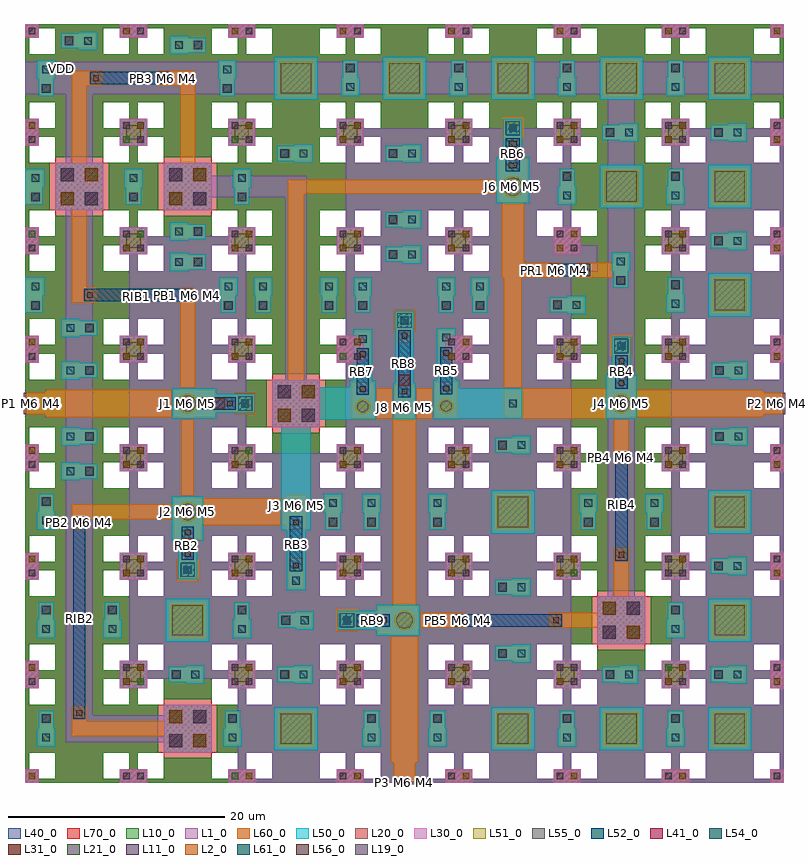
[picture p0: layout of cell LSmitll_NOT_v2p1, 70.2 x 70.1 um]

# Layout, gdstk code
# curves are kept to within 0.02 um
from math import pi, radians
import gdstk
lib = gdstk.Library(unit=1e-6, precision=1e-09)
def R(c, l, rs):  # rectangles x0, y0, x1, y1
    for r in rs: c.add(gdstk.rectangle(r[:2], r[2:], *l))
def P(c, l, *ps):  # polygons
    for p in ps: c.add(gdstk.Polygon(p, *l))
L1_0 = (1, 0)
L2_0 = (2, 0)
L10_0 = (10, 0)
L11_0 = (11, 0)
L19_0 = (19, 0)
L20_0 = (20, 0)
L21_0 = (21, 0)
L30_0 = (30, 0)
L31_0 = (31, 0)
L40_0 = (40, 0)
L41_0 = (41, 0)
L50_0 = (50, 0)
L51_0 = (51, 0)
L52_0 = (52, 0)
L54_0 = (54, 0)
L55_0 = (55, 0)
L56_0 = (56, 0)
L60_0 = (60, 0)
L61_0 = (61, 0)
L70_0 = (70, 0)

ls_tr_m0 = lib.new_cell('ls_tr_M0')
P(ls_tr_m0, L1_0, [(0,0),(0,10),(1.25,10),(1.25,8.75),(0.4,8.75),(0.4,1.25),(1.25,1.25),(1.25,0.4),(2.8,0.4),(2.8,2.8),(0.4,2.8),(0.4,7.2),(2.8,7.2),(2.8,9.6),(1.25,9.6),(1.25,10),(7.2,10),(7.2,0.4),(8.75,0.4),(8.75,1.25),(9.6,1.25),(9.6,2.8),(7.2,2.8),(7.2,7.2),(9.6,7.2),(9.6,8.75),(8.75,8.75),(8.75,9.6),(7.2,9.6),(7.2,10),(10,10),(10,0)])

ls_conn_m5m6m7 = lib.new_cell('ls_conn_M5M6M7')
R(ls_conn_m5m6m7, L50_0, [(-0.5,-0.5,1.2,1.2)])
R(ls_conn_m5m6m7, L54_0, [(0,0,0.7,0.7)])
R(ls_conn_m5m6m7, L60_0, [(-0.65,-0.65,1.35,1.35)])
R(ls_conn_m5m6m7, L61_0, [(-0.3,-0.3,1,1)])
R(ls_conn_m5m6m7, L70_0, [(-0.65,-0.65,1.35,1.35)])

ls_jj_080_sg = lib.new_cell('ls_jj_080_sg')
R(ls_jj_080_sg, L41_0, [(-0.5,2.025,0.5,3.025)])
R(ls_jj_080_sg, L50_0, [(-1.05,-1.05,1.05,2.25), (-0.875,2.25,0.875,8.925)])
P(ls_jj_080_sg, L51_0, [(0,-0.53),(-0.205,-0.49),(-0.375,-0.375),(-0.49,-0.205),(-0.53,0),(-0.49,0.2),(-0.375,0.375),(-0.205,0.49),(0,0.53),(0.205,0.49),(0.375,0.375),(0.49,0.2),(0.53,0),(0.49,-0.205),(0.375,-0.375),(0.205,-0.49)])
R(ls_jj_080_sg, L52_0, [(-0.575,0.975,0.575,7.175)])
R(ls_jj_080_sg, L54_0, [(-0.35,7.7,0.35,8.4)])
P(ls_jj_080_sg, L55_0, [(0,-0.38),(-0.15,-0.35),(-0.27,-0.27),(-0.35,-0.15),(-0.38,0),(-0.35,0.15),(-0.27,0.27),(-0.21,0.33),(0,0.38),(0.21,0.33),(0.32,0.21),(0.38,0),(0.35,-0.15),(0.27,-0.27),(0.15,-0.35)])
R(ls_jj_080_sg, L56_0, [(-0.26,1.25,0.26,1.77), (-0.26,6.38,0.26,6.9)])
R(ls_jj_080_sg, L60_0, [(-0.9,-0.9,0.9,2.15), (-0.725,6,0.725,8.775)])
ls_jj_080_sg.add(gdstk.Reference(ls_conn_m5m6m7, (-0.35,7.7)))

ls_jj_138_s = lib.new_cell('ls_jj_138_s')
R(ls_jj_138_s, L50_0, [(-1.2,-1.2,1.2,2.375), (-0.875,2.375,0.875,7.125)])
P(ls_jj_138_s, L51_0, [(0,-0.685),(-0.26,-0.635),(-0.485,-0.485),(-0.63,-0.265),(-0.685,0),(-0.63,0.26),(-0.485,0.485),(-0.26,0.63),(0,0.685),(0.26,0.63),(0.485,0.485),(0.63,0.26),(0.685,0),(0.63,-0.265),(0.485,-0.485),(0.26,-0.635)])
R(ls_jj_138_s, L52_0, [(-0.575,1.1,0.575,5.375)])
R(ls_jj_138_s, L54_0, [(-0.35,5.9,0.35,6.6)])
P(ls_jj_138_s, L55_0, [(0,-0.53),(-0.2,-0.49),(-0.38,-0.37),(-0.49,-0.2),(-0.53,0),(-0.49,0.21),(-0.38,0.38),(-0.2,0.5),(0,0.54),(0.2,0.5),(0.38,0.38),(0.49,0.21),(0.53,0),(0.49,-0.2),(0.38,-0.37),(0.2,-0.49)])
R(ls_jj_138_s, L56_0, [(-0.26,1.38,0.26,1.9), (-0.26,4.58,0.26,5.1)])
R(ls_jj_138_s, L60_0, [(-1.05,-1.05,1.05,2.275), (-0.725,4.2,0.725,6.975)])

ls_jj_250_sg = lib.new_cell('ls_jj_250_sg')
R(ls_jj_250_sg, L41_0, [(-0.5,2.4,0.5,3.4)])
R(ls_jj_250_sg, L50_0, [(-1.425,-1.425,1.425,2.625), (-0.875,2.625,0.875,6.175)])
P(ls_jj_250_sg, L51_0, [(0,-0.91),(-0.18,-0.895),(-0.35,-0.84),(-0.645,-0.645),(-0.84,-0.35),(-0.91,0),(-0.895,0.18),(-0.84,0.35),(-0.645,0.645),(-0.35,0.84),(-0.18,0.895),(0,0.91),(0.18,0.895),(0.35,0.84),(0.645,0.645),(0.84,0.35),(0.895,0.18),(0.91,0),(0.84,-0.35),(0.645,-0.645),(0.35,-0.84),(0.18,-0.895)])
R(ls_jj_250_sg, L52_0, [(-0.575,1.35,0.575,4.425)])
R(ls_jj_250_sg, L54_0, [(-0.35,4.95,0.35,5.65)])
P(ls_jj_250_sg, L55_0, [(0,-0.76),(-0.15,-0.75),(-0.29,-0.7),(-0.54,-0.54),(-0.7,-0.29),(-0.75,-0.15),(-0.76,0),(-0.75,0.15),(-0.7,0.29),(-0.54,0.54),(-0.29,0.7),(-0.15,0.75),(0,0.76),(0.15,0.75),(0.29,0.7),(0.54,0.54),(0.7,0.29),(0.75,0.15),(0.76,0),(0.75,-0.15),(0.7,-0.29),(0.54,-0.54),(0.29,-0.7),(0.15,-0.75)])
R(ls_jj_250_sg, L56_0, [(-0.26,1.64,0.26,2.16), (-0.26,3.63,0.26,4.15)])
R(ls_jj_250_sg, L60_0, [(-1.275,-1.275,1.275,2.525), (-0.725,3.25,0.725,6.025)])
ls_jj_250_sg.add(gdstk.Reference(ls_conn_m5m6m7, (-0.35,4.95)))

ls_tr_m7 = lib.new_cell('ls_tr_M7')
P(ls_tr_m7, L70_0, [(0,0),(0,10),(1.25,10),(1.25,8.75),(0.4,8.75),(0.4,1.25),(1.25,1.25),(1.25,0.4),(2.8,0.4),(2.8,2.8),(0.4,2.8),(0.4,7.2),(2.8,7.2),(2.8,9.6),(1.25,9.6),(1.25,10),(7.2,10),(7.2,0.4),(8.75,0.4),(8.75,1.25),(9.6,1.25),(9.6,2.8),(7.2,2.8),(7.2,7.2),(9.6,7.2),(9.6,8.75),(8.75,8.75),(8.75,9.6),(7.2,9.6),(7.2,10),(10,10),(10,0)])

ls_tr_u_m4_alt = lib.new_cell('ls_tr_u_M4_alt')
R(ls_tr_u_m4_alt, L1_0, [(0,0,1.25,1.25), (8.75,0,10,1.25), (0,8.75,1.25,10), (8.75,8.75,10,10)])
R(ls_tr_u_m4_alt, L2_0, [(9.05,0.35,9.65,0.95), (0.35,9.05,0.95,9.65)])
R(ls_tr_u_m4_alt, L10_0, [(0,0,1.25,1.25), (1.25,0,8.75,0.4), (8.75,0,10,1.25), (2.8,0.4,7.2,9.6), (0,1.25,0.4,8.75), (9.6,1.25,10,8.75), (0.4,2.8,2.8,7.2), (7.2,2.8,9.6,7.2), (0,8.75,1.25,10), (8.75,8.75,10,10), (1.25,9.6,8.75,10)])
R(ls_tr_u_m4_alt, L11_0, [(0.35,0.35,0.95,0.95), (9.05,9.05,9.65,9.65)])
R(ls_tr_u_m4_alt, L20_0, [(0,0,1.25,1.25), (8.75,0,10,1.25), (0,8.75,1.25,10), (8.75,8.75,10,10)])
R(ls_tr_u_m4_alt, L21_0, [(9.05,0.35,9.65,0.95), (0.35,9.05,0.95,9.65)])
R(ls_tr_u_m4_alt, L30_0, [(0,0,1.25,1.25), (8.75,0,10,1.25), (0,8.75,1.25,10), (8.75,8.75,10,10)])
R(ls_tr_u_m4_alt, L31_0, [(0.35,0.35,0.95,0.95), (9.05,9.05,9.65,9.65)])
P(ls_tr_u_m4_alt, L40_0, [(0,0),(0,10),(1.25,10),(1.25,8.75),(0.4,8.75),(0.4,1.25),(1.25,1.25),(1.25,0.4),(2.8,0.4),(2.8,2.8),(0.4,2.8),(0.4,7.2),(2.8,7.2),(2.8,9.6),(1.25,9.6),(1.25,10),(7.2,10),(7.2,0.4),(8.75,0.4),(8.75,1.25),(9.6,1.25),(9.6,2.8),(7.2,2.8),(7.2,7.2),(9.6,7.2),(9.6,8.75),(8.75,8.75),(8.75,9.6),(7.2,9.6),(7.2,10),(10,10),(10,0)])
ls_tr_u_m4_alt.add(gdstk.Reference(ls_tr_m7, (0,0)))

ls_jj_134_s = lib.new_cell('ls_jj_134_s')
R(ls_jj_134_s, L50_0, [(-1.2,-1.2,1.2,2.375), (-0.875,2.375,0.875,7.2)])
P(ls_jj_134_s, L51_0, [(0,-0.675),(-0.26,-0.625),(-0.475,-0.475),(-0.625,-0.26),(-0.675,0),(-0.625,0.26),(-0.475,0.475),(-0.26,0.625),(0,0.675),(0.26,0.625),(0.475,0.475),(0.625,0.26),(0.675,0),(0.625,-0.26),(0.475,-0.475),(0.26,-0.625)])
R(ls_jj_134_s, L52_0, [(-0.575,1.1,0.575,5.45)])
R(ls_jj_134_s, L54_0, [(-0.35,5.975,0.35,6.675)])
P(ls_jj_134_s, L55_0, [(0,-0.52),(-0.2,-0.48),(-0.37,-0.37),(-0.53,-0.1),(-0.53,0.11),(-0.44,0.3),(-0.2,0.49),(0,0.53),(0.2,0.49),(0.37,0.38),(0.53,0.11),(0.53,-0.1),(0.44,-0.29),(0.2,-0.48)])
R(ls_jj_134_s, L56_0, [(-0.26,1.37,0.26,1.89), (-0.26,4.65,0.26,5.17)])
R(ls_jj_134_s, L60_0, [(-1.05,-1.05,1.05,2.275), (-0.725,4.275,0.725,7.05)])

ls_tr_bias_pillar_m0m6 = lib.new_cell('ls_tr_bias_pillar_M0M6')
R(ls_tr_bias_pillar_m0m6, L1_0, [(0,0,1.25,1.25), (8.75,0,10,1.25), (2.8,2.8,7.2,7.2), (0,8.75,1.25,10), (8.75,8.75,10,10)])
R(ls_tr_bias_pillar_m0m6, L2_0, [(5.5,3.3,6.7,4.5), (3.3,5.5,4.5,6.7)])
R(ls_tr_bias_pillar_m0m6, L10_0, [(0,0,1.25,1.25), (8.75,0,10,1.25), (2.8,2.8,7.2,7.2), (0,8.75,1.25,10), (8.75,8.75,10,10)])
P(ls_tr_bias_pillar_m0m6, L10_0, [(0,0),(0,10),(7.2,10),(7.2,7.7),(2.8,7.7),(2.8,9.6),(1.25,9.6),(1.25,8.75),(0.4,8.75),(0.4,7.2),(2.3,7.2),(2.3,2.8),(0.4,2.8),(0.4,1.25),(1.25,1.25),(1.25,0.4),(2.8,0.4),(2.8,2.3),(7.2,2.3),(7.2,0.4),(8.75,0.4),(8.75,1.25),(9.6,1.25),(9.6,2.8),(7.7,2.8),(7.7,7.2),(9.6,7.2),(9.6,8.75),(8.75,8.75),(8.75,9.6),(7.2,9.6),(7.2,10),(10,10),(10,0)])
R(ls_tr_bias_pillar_m0m6, L11_0, [(0.35,0.35,0.95,0.95), (3.3,3.3,4.5,4.5), (5.5,5.5,6.7,6.7), (9.05,9.05,9.65,9.65)])
R(ls_tr_bias_pillar_m0m6, L20_0, [(0,0,1.25,1.25), (8.75,0,10,1.25), (2.8,2.8,7.2,7.2), (0,8.75,1.25,10), (8.75,8.75,10,10)])
R(ls_tr_bias_pillar_m0m6, L21_0, [(9.05,0.35,9.65,0.95), (5.5,3.3,6.7,4.5), (3.3,5.5,4.5,6.7), (0.35,9.05,0.95,9.65)])
R(ls_tr_bias_pillar_m0m6, L30_0, [(0,0,1.25,1.25), (8.75,0,10,1.25), (2.8,2.8,7.2,7.2), (0,8.75,1.25,10), (8.75,8.75,10,10)])
R(ls_tr_bias_pillar_m0m6, L31_0, [(0.35,0.35,0.95,0.95), (3.3,3.3,4.5,4.5), (5.5,5.5,6.7,6.7), (9.05,9.05,9.65,9.65)])
R(ls_tr_bias_pillar_m0m6, L40_0, [(2.8,2.8,7.2,7.2)])
P(ls_tr_bias_pillar_m0m6, L40_0, [(0,0),(0,10),(7.2,10),(7.2,7.7),(2.8,7.7),(2.8,9.6),(1.25,9.6),(1.25,8.75),(0.4,8.75),(0.4,7.2),(2.3,7.2),(2.3,2.8),(0.4,2.8),(0.4,1.25),(1.25,1.25),(1.25,0.4),(2.8,0.4),(2.8,2.3),(7.2,2.3),(7.2,0.4),(8.75,0.4),(8.75,1.25),(9.6,1.25),(9.6,2.8),(7.7,2.8),(7.7,7.2),(9.6,7.2),(9.6,8.75),(8.75,8.75),(8.75,9.6),(7.2,9.6),(7.2,10),(10,10),(10,0)])
R(ls_tr_bias_pillar_m0m6, L41_0, [(5.5,3.3,6.7,4.5), (3.3,5.5,4.5,6.7)])
R(ls_tr_bias_pillar_m0m6, L50_0, [(2.8,2.8,7.2,7.2)])
R(ls_tr_bias_pillar_m0m6, L54_0, [(3.3,3.3,4.5,4.5), (5.5,5.5,6.7,6.7)])
R(ls_tr_bias_pillar_m0m6, L60_0, [(2.8,2.8,7.2,7.2)])
P(ls_tr_bias_pillar_m0m6, L70_0, [(0,0),(0,10),(1.25,10),(1.25,8.75),(0.4,8.75),(0.4,1.25),(1.25,1.25),(1.25,0.4),(2.8,0.4),(2.8,2.8),(0.4,2.8),(0.4,7.2),(2.8,7.2),(2.8,9.6),(1.25,9.6),(1.25,10),(7.2,10),(7.2,0.4),(8.75,0.4),(8.75,1.25),(9.6,1.25),(9.6,2.8),(7.2,2.8),(7.2,7.2),(9.6,7.2),(9.6,8.75),(8.75,8.75),(8.75,9.6),(7.2,9.6),(7.2,10),(10,10),(10,0)])

ls_conn_m5m6 = lib.new_cell('ls_conn_M5M6')
R(ls_conn_m5m6, L50_0, [(0,0,1.7,1.7)])
R(ls_conn_m5m6, L54_0, [(0.5,0.5,1.2,1.2)])
R(ls_conn_m5m6, L60_0, [(0.15,0.15,1.55,1.55)])

ls_conn_m4m5m6m7 = lib.new_cell('ls_conn_M4M5M6M7')
R(ls_conn_m4m5m6m7, L40_0, [(0,0,1.4,1.4)])
R(ls_conn_m4m5m6m7, L41_0, [(0.3,0.3,1.1,1.1)])
P(ls_conn_m4m5m6m7, L50_0, [(1.6,-0.15),(1.6,0),(0,0),(0,1.4),(1.6,1.4),(1.6,1.55),(3.3,1.55),(3.3,-0.15)])
R(ls_conn_m4m5m6m7, L54_0, [(2.1,0.35,2.8,1.05)])
R(ls_conn_m4m5m6m7, L60_0, [(0,0,3.15,1.4)])
R(ls_conn_m4m5m6m7, L61_0, [(0.35,0.35,1.05,1.05)])
R(ls_conn_m4m5m6m7, L70_0, [(0,0,1.4,1.4)])

ls_fakejj_3umx3um = lib.new_cell('ls_FakeJJ_3umx3um')
R(ls_fakejj_3umx3um, L40_0, [(-2,-2,2,2)])
R(ls_fakejj_3umx3um, L50_0, [(-2,-2,2,2)])
R(ls_fakejj_3umx3um, L51_0, [(-1.5,-1.5,1.5,1.5)])
R(ls_fakejj_3umx3um, L55_0, [(-1.4,-1.4,1.4,1.4)])
R(ls_fakejj_3umx3um, L60_0, [(-1.75,-1.75,1.75,1.75)])

ls_fakejj_1p5x1p5um = lib.new_cell('ls_FakeJJ_1p5x1p5um')
R(ls_fakejj_1p5x1p5um, L40_0, [(-1.25,-1.25,1.25,1.25)])
R(ls_fakejj_1p5x1p5um, L50_0, [(-1.25,-1.25,1.25,1.25)])
R(ls_fakejj_1p5x1p5um, L51_0, [(-0.75,-0.75,0.75,0.75)])
R(ls_fakejj_1p5x1p5um, L55_0, [(-0.65,-0.65,0.65,0.65)])
R(ls_fakejj_1p5x1p5um, L60_0, [(-1,-1,1,1)])

ls_jj_303_sg = lib.new_cell('ls_jj_303_sg')
R(ls_jj_303_sg, L41_0, [(-0.5,2.5,0.5,3.5)])
R(ls_jj_303_sg, L50_0, [(-1.525,-1.525,1.525,2.7), (-0.875,2.7,0.875,6.225)])
P(ls_jj_303_sg, L51_0, [(0,-1),(-0.385,-0.925),(-0.705,-0.705),(-0.925,-0.385),(-1,0),(-0.925,0.385),(-0.705,0.705),(-0.385,0.925),(0,1),(0.385,0.925),(0.705,0.705),(0.925,0.385),(1,0),(0.925,-0.385),(0.705,-0.705),(0.385,-0.925)])
R(ls_jj_303_sg, L52_0, [(-0.65,1.425,0.65,4.475)])
P(ls_jj_303_sg, L55_0, [(0,-0.85),(-0.33,-0.79),(-0.6,-0.6),(-0.79,-0.33),(-0.85,0),(-0.79,0.33),(-0.6,0.6),(-0.33,0.79),(0,0.85),(0.33,0.79),(0.6,0.6),(0.79,0.33),(0.85,0),(0.79,-0.33),(0.6,-0.6),(0.33,-0.79)])
R(ls_jj_303_sg, L56_0, [(-0.39,1.7,0.39,2.22), (-0.39,3.69,0.39,4.21)])
R(ls_jj_303_sg, L60_0, [(-1.375,-1.375,1.375,2.6), (-0.75,3.325,0.75,6.075)])
ls_jj_303_sg.add(gdstk.Reference(ls_conn_m5m6m7, (-0.35,5.05)))

ls_res_4 = lib.new_cell('ls_res_4')
R(ls_res_4, L52_0, [(-0.575,0,0.575,3.825)])
R(ls_res_4, L56_0, [(-0.26,0.29,0.26,0.81), (-0.26,3.02,0.26,3.54)])
R(ls_res_4, L60_0, [(-0.625,-0.1,0.625,1.175), (-0.625,2.65,0.625,3.925)])

ls_ib_257 = lib.new_cell('ls_ib_257')
R(ls_ib_257, L52_0, [(-0.575,0,0.575,7.325)])
R(ls_ib_257, L56_0, [(-0.26,0.29,0.26,0.81), (-0.26,6.54,0.26,7.06)])
R(ls_ib_257, L60_0, [(-0.625,-0.1,0.625,1.175), (-0.625,6.175,0.625,7.425)])

ls_ib_175 = lib.new_cell('ls_ib_175')
R(ls_ib_175, L52_0, [(-0.575,0,0.575,10.05)])
R(ls_ib_175, L56_0, [(-0.26,0.29,0.26,0.81), (-0.26,9.26,0.26,9.78)])
R(ls_ib_175, L60_0, [(-0.625,-0.1,0.625,1.175), (-0.625,8.875,0.625,10.15)])

ls_jj_107_s = lib.new_cell('ls_jj_107_s')
R(ls_jj_107_s, L50_0, [(-1.125,-1.125,1.125,2.3), (-0.875,2.3,0.875,7.825)])
P(ls_jj_107_s, L51_0, [(0,-0.605),(-0.23,-0.56),(-0.43,-0.425),(-0.56,-0.23),(-0.605,0),(-0.56,0.235),(-0.43,0.43),(-0.23,0.56),(0,0.61),(0.23,0.56),(0.43,0.43),(0.56,0.235),(0.605,0),(0.56,-0.23),(0.43,-0.425),(0.23,-0.56)])
R(ls_jj_107_s, L52_0, [(-0.575,1.025,0.575,6.075)])
R(ls_jj_107_s, L54_0, [(-0.35,6.6,0.35,7.3)])
P(ls_jj_107_s, L55_0, [(0,-0.46),(-0.19,-0.43),(-0.32,-0.33),(-0.42,-0.18),(-0.46,0),(-0.42,0.17),(-0.32,0.32),(-0.19,0.42),(0,0.45),(0.19,0.42),(0.32,0.32),(0.42,0.17),(0.46,0),(0.42,-0.18),(0.32,-0.33),(0.19,-0.43)])
R(ls_jj_107_s, L56_0, [(-0.26,1.31,0.26,1.83), (-0.26,5.27,0.26,5.79)])
R(ls_jj_107_s, L60_0, [(-0.975,-0.975,0.975,2.2), (-0.725,4.9,0.725,7.675)])

ls_jj_257_sg = lib.new_cell('ls_jj_257_sg')
R(ls_jj_257_sg, L41_0, [(-0.5,2.425,0.5,3.425)])
R(ls_jj_257_sg, L50_0, [(-1.45,-1.45,1.45,2.65), (-0.875,2.65,0.875,6.175)])
P(ls_jj_257_sg, L51_0, [(0,-0.925),(-0.355,-0.855),(-0.655,-0.655),(-0.855,-0.355),(-0.925,0),(-0.855,0.35),(-0.655,0.65),(-0.355,0.85),(-0.18,0.905),(0,0.92),(0.18,0.905),(0.355,0.85),(0.655,0.65),(0.855,0.35),(0.925,0),(0.855,-0.355),(0.655,-0.655),(0.355,-0.855)])
R(ls_jj_257_sg, L52_0, [(-0.55,1.375,0.55,4.425)])
P(ls_jj_257_sg, L55_0, [(-0.15,-0.77),(-0.43,-0.64),(-0.64,-0.43),(-0.76,-0.15),(-0.76,0.15),(-0.64,0.43),(-0.43,0.65),(-0.15,0.76),(0.15,0.76),(0.43,0.65),(0.64,0.43),(0.76,0.15),(0.76,-0.15),(0.64,-0.43),(0.43,-0.64),(0.15,-0.77)])
R(ls_jj_257_sg, L56_0, [(-0.29,1.65,0.29,2.17), (-0.29,3.64,0.29,4.16)])
R(ls_jj_257_sg, L60_0, [(-1.3,-1.3,1.3,2.55), (-0.725,3.25,0.725,6.025)])
ls_jj_257_sg.add(gdstk.Reference(ls_conn_m5m6m7, (-0.35,5)))

ls_ib_087 = lib.new_cell('ls_ib_087')
R(ls_ib_087, L52_0, [(-0.575,0,0.575,18.65)])
R(ls_ib_087, L56_0, [(-0.26,0.29,0.26,0.81), (-0.26,17.85,0.26,18.37)])
R(ls_ib_087, L60_0, [(-0.625,-0.1,0.625,1.175), (-0.625,17.475,0.625,18.75)])

lsmitll_not_v2p1 = lib.new_cell('LSmitll_NOT_v2p1')
R(lsmitll_not_v2p1, L1_0, [(19.6,1.25,20,8.75), (11.25,9.6,18.75,10), (51.25,10,58.75,10.4), (9.6,11.25,10,48.75), (50,11.25,50.4,58.75), (59.6,11.25,60,58.75), (21.25,30,28.75,30.4), (20,31.25,20.4,48.75), (29.6,31.25,30,58.75), (30.4,37.2,32.8,42.8), (37.2,37.2,39.6,42.8), (47.2,47.2,52.8,49.6), (11.25,50,18.75,50.4), (31.25,60,48.75,60.4), (61.25,60,68.75,60.4)])
R(lsmitll_not_v2p1, L10_0, [(30.4,37.2,32.8,42.8), (37.2,37.2,39.6,42.8), (47.2,47.2,52.8,49.6)])
R(lsmitll_not_v2p1, L19_0, [(39.74,14.74,40.26,15.26), (4.74,23.75,5.26,24.27), (54.74,29.76,55.26,30.28), (14.71,44.74,15.23,45.26), (48.61,47.04,49.13,47.56), (12.54,64.74,13.06,65.26)])
R(lsmitll_not_v2p1, L40_0, [(30.4,37.2,32.8,42.8), (37.2,37.2,39.6,42.8), (47.2,47.2,52.8,49.6)])
R(lsmitll_not_v2p1, L50_0, [(0,43.35,0.25,46.65), (0,53.35,0.25,56.65)])
R(lsmitll_not_v2p1, L60_0, [(0,43.35,0.25,46.5), (0,53.35,0.25,56.5)])
P(lsmitll_not_v2p1, L60_0, [(34,1.75),(33.75,2),(36.25,2),(36,1.75)],
  [(2,33.75),(1.75,34),(1.75,36),(2,36.25)],
  [(68,33.75),(68,36.25),(68.25,36),(68.25,34)])
R(lsmitll_not_v2p1, L70_0, [(30.4,37.2,32.8,42.8), (37.2,37.2,39.6,42.8), (47.2,47.2,52.8,49.6)])
lsmitll_not_v2p1.add(gdstk.FlexPath([(25,55),(25,35)], 1.5, ends="flush", simple_path=True, layer=60, datatype=0))  # L60_0
lsmitll_not_v2p1.add(gdstk.FlexPath([(43.65,55),(24.25,55)], 1.3, ends="flush", simple_path=True, layer=60, datatype=0))  # L60_0
lsmitll_not_v2p1.add(gdstk.FlexPath([(35,16.275),(35,34.1)], 2.15, ends="flush", simple_path=True, layer=60, datatype=0))  # L60_0
lsmitll_not_v2p1.add(gdstk.FlexPath([(48.325,15),(55,15)], 1.4, ends="flush", simple_path=True, layer=60, datatype=0))  # L60_0
lsmitll_not_v2p1.add(gdstk.FlexPath([(36.25,15),(40.625,15)], 1.4, ends="flush", simple_path=True, layer=60, datatype=0))  # L60_0
lsmitll_not_v2p1.add(gdstk.FlexPath([(35,2),(35,13.75)], 2.5, ends="flush", simple_path=True, layer=60, datatype=0))  # L60_0
lsmitll_not_v2p1.add(gdstk.FlexPath([(35,0),(35,2)], 2, ends="flush", simple_path=True, layer=60, datatype=0))  # L60_0
lsmitll_not_v2p1.add(gdstk.FlexPath([(2,35),(0,35)], 2, ends="flush", simple_path=True, layer=60, datatype=0))  # L60_0
lsmitll_not_v2p1.add(gdstk.FlexPath([(13.7,25),(5,25),(5,23.375)], 1.4, ends="flush", simple_path=True, layer=60, datatype=0))  # L60_0
lsmitll_not_v2p1.add(gdstk.FlexPath([(15,36.275),(15,45.625)], 1.4, ends="flush", simple_path=True, layer=60, datatype=0))  # L60_0
lsmitll_not_v2p1.add(gdstk.FlexPath([(5,55),(5,45),(6.625,45)], 1.4, ends="flush", simple_path=True, layer=60, datatype=0))  # L60_0
lsmitll_not_v2p1.add(gdstk.FlexPath([(15,55),(15,65),(12.175,65)], 1.4, ends="flush", simple_path=True, layer=60, datatype=0))  # L60_0
lsmitll_not_v2p1.add(gdstk.FlexPath([(5,55),(5,65),(7.175,65)], 1.4, ends="flush", simple_path=True, layer=60, datatype=0))  # L60_0
lsmitll_not_v2p1.add(gdstk.FlexPath([(15,33.75),(15,26.25)], 1.15, ends="flush", simple_path=True, layer=60, datatype=0))  # L60_0
lsmitll_not_v2p1.add(gdstk.FlexPath([(16.3,25),(24.05,25)], 2.5, ends="flush", simple_path=True, layer=60, datatype=0))  # L60_0
lsmitll_not_v2p1.add(gdstk.FlexPath([(15,5),(5,5),(5,7.075)], 1.4, ends="flush", simple_path=True, layer=60, datatype=0))  # L60_0
lsmitll_not_v2p1.add(gdstk.FlexPath([(13.75,35),(2,35)], 2.5, ends="flush", simple_path=True, layer=60, datatype=0))  # L60_0
lsmitll_not_v2p1.add(gdstk.FlexPath([(30.1,35),(34.15,35)], 2.8, ends="flush", simple_path=True, layer=60, datatype=0))  # L60_0
lsmitll_not_v2p1.add(gdstk.FlexPath([(35.9,35),(39.9,35)], 2.8, ends="flush", simple_path=True, layer=60, datatype=0))  # L60_0
lsmitll_not_v2p1.add(gdstk.FlexPath([(54.35,35),(44.3,35)], 2.8, ends="flush", simple_path=True, layer=60, datatype=0))  # L60_0
lsmitll_not_v2p1.add(gdstk.FlexPath([(70,35),(68,35)], 2, ends="flush", simple_path=True, layer=60, datatype=0))  # L60_0
lsmitll_not_v2p1.add(gdstk.FlexPath([(68,35),(56.25,35)], 2.5, ends="flush", simple_path=True, layer=60, datatype=0))  # L60_0
lsmitll_not_v2p1.add(gdstk.FlexPath([(55,33.75),(55,29.375)], 1.4, ends="flush", simple_path=True, layer=60, datatype=0))  # L60_0
lsmitll_not_v2p1.add(gdstk.FlexPath([(55,15),(55,21.675)], 1.4, ends="flush", simple_path=True, layer=60, datatype=0))  # L60_0
lsmitll_not_v2p1.add(gdstk.FlexPath([(45,53.65),(45,46.6)], 2.05, ends="flush", simple_path=True, layer=60, datatype=0))  # L60_0
lsmitll_not_v2p1.add(gdstk.FlexPath([(45,34),(45,47.9)], 1.65, ends="flush", simple_path=True, layer=60, datatype=0))  # L60_0
lsmitll_not_v2p1.add(gdstk.FlexPath([(45,47.3),(49.5,47.3)], 1.4, ends="flush", simple_path=True, layer=60, datatype=0))  # L60_0
lsmitll_not_v2p1.add(gdstk.FlexPath([(50.975,47.3),(55,47.3)], 1.4, ends="flush", simple_path=True, layer=60, datatype=0))  # L60_0
lsmitll_not_v2p1.add(gdstk.FlexPath([(25,23.3),(25,35)], 2.7, ends="flush", simple_path=True, layer=50, datatype=0))  # L50_0
lsmitll_not_v2p1.add(gdstk.FlexPath([(25,35),(30,35)], 3, ends="flush", simple_path=True, layer=50, datatype=0))  # L50_0
lsmitll_not_v2p1.add(gdstk.FlexPath([(40.05,35),(45.85,35)], 2.8, ends="flush", simple_path=True, layer=50, datatype=0))  # L50_0
lsmitll_not_v2p1.add(gdstk.FlexPath([(0,65),(70,65)], 3, ends="flush", simple_path=True, layer=1, datatype=0))  # L1_0
lsmitll_not_v2p1.add(gdstk.FlexPath([(5,65),(5,5),(15,5)], 2.5, ends="flush", simple_path=True, layer=1, datatype=0))  # L1_0
lsmitll_not_v2p1.add(gdstk.FlexPath([(55,65),(55,15)], 2.5, ends="flush", simple_path=True, layer=1, datatype=0))  # L1_0
lsmitll_not_v2p1.add(gdstk.FlexPath([(15,55),(25,55),(25,35)], 2, ends="flush", simple_path=True, layer=1, datatype=0))  # L1_0
lsmitll_not_v2p1.add(gdstk.FlexPath([(70,34),(70,36)], 0.2, ends="flush", simple_path=True, layer=19, datatype=0))  # L19_0
lsmitll_not_v2p1.add(gdstk.FlexPath([(34,0),(36,0)], 0.2, ends="flush", simple_path=True, layer=19, datatype=0))  # L19_0
lsmitll_not_v2p1.add(gdstk.FlexPath([(0,34),(0,36)], 0.2, ends="flush", simple_path=True, layer=19, datatype=0))  # L19_0
lsmitll_not_v2p1.add(gdstk.Reference(ls_tr_m0, (30,10)))
lsmitll_not_v2p1.add(gdstk.Reference(ls_tr_m0, (30,20)))
lsmitll_not_v2p1.add(gdstk.Reference(ls_tr_m0, (30,30)))
lsmitll_not_v2p1.add(gdstk.Reference(ls_tr_m0, (40,30)))
lsmitll_not_v2p1.add(gdstk.Reference(ls_tr_m0, (30,40)))
lsmitll_not_v2p1.add(gdstk.Reference(ls_tr_m0, (30,50)))
lsmitll_not_v2p1.add(gdstk.Reference(ls_tr_m0, (60,30)))
lsmitll_not_v2p1.add(gdstk.Reference(ls_tr_m0, (30,0)))
lsmitll_not_v2p1.add(gdstk.Reference(ls_tr_m0, (10,30)))
lsmitll_not_v2p1.add(gdstk.Reference(ls_jj_080_sg, (35,34.6)))
lsmitll_not_v2p1.add(gdstk.Reference(ls_jj_138_s, (31.15,34.7)))
lsmitll_not_v2p1.add(gdstk.Reference(ls_jj_250_sg, (55,35), rotation=pi, x_reflection=True))
lsmitll_not_v2p1.add(gdstk.Reference(ls_jj_250_sg, (15,35), rotation=pi/2, x_reflection=True))
lsmitll_not_v2p1.add(gdstk.Reference(ls_tr_u_m4_alt, (30,10), rotation=3*pi/2))
lsmitll_not_v2p1.add(gdstk.Reference(ls_tr_u_m4_alt, (30,20), rotation=3*pi/2))
lsmitll_not_v2p1.add(gdstk.Reference(ls_tr_u_m4_alt, (30,30), rotation=3*pi/2))
lsmitll_not_v2p1.add(gdstk.Reference(ls_tr_u_m4_alt, (60,40), rotation=3*pi/2))
lsmitll_not_v2p1.add(gdstk.Reference(ls_tr_u_m4_alt, (50,40), rotation=3*pi/2))
lsmitll_not_v2p1.add(gdstk.Reference(ls_tr_u_m4_alt, (30,40), rotation=3*pi/2))
lsmitll_not_v2p1.add(gdstk.Reference(ls_tr_u_m4_alt, (10,40), rotation=3*pi/2))
lsmitll_not_v2p1.add(gdstk.Reference(ls_tr_u_m4_alt, (0,40), rotation=3*pi/2))
lsmitll_not_v2p1.add(gdstk.Reference(ls_tr_u_m4_alt, (30,60), rotation=3*pi/2))
lsmitll_not_v2p1.add(gdstk.Reference(ls_tr_u_m4_alt, (30,70), rotation=3*pi/2))
lsmitll_not_v2p1.add(gdstk.Reference(ls_jj_134_s, (38.85,34.75)))
lsmitll_not_v2p1.add(gdstk.Reference(ls_tr_bias_pillar_m0m6, (20,40), rotation=3*pi/2))
lsmitll_not_v2p1.add(gdstk.Reference(ls_jj_250_sg, (35,15), rotation=3*pi/2, x_reflection=True))
lsmitll_not_v2p1.add(gdstk.Reference(ls_tr_u_m4_alt, (30,50), rotation=3*pi/2))
lsmitll_not_v2p1.add(gdstk.Reference(ls_tr_u_m4_alt, (40,40), rotation=3*pi/2))
lsmitll_not_v2p1.add(gdstk.Reference(ls_conn_m5m6, (44.15,34.15)))
lsmitll_not_v2p1.add(gdstk.Reference(ls_conn_m4m5m6m7, (33.25,51.25)))
lsmitll_not_v2p1.add(gdstk.Reference(ls_conn_m4m5m6m7, (33.25,57.35)))
lsmitll_not_v2p1.add(gdstk.Reference(ls_conn_m4m5m6m7, (33.25,48.05)))
lsmitll_not_v2p1.add(gdstk.Reference(ls_fakejj_3umx3um, (35,65)))
lsmitll_not_v2p1.add(gdstk.Reference(ls_fakejj_1p5x1p5um, (50,60)))
lsmitll_not_v2p1.add(gdstk.Reference(ls_fakejj_1p5x1p5um, (40,60)))
lsmitll_not_v2p1.add(gdstk.Reference(ls_tr_u_m4_alt, (40,50), rotation=3*pi/2))
lsmitll_not_v2p1.add(gdstk.Reference(ls_tr_u_m4_alt, (50,50), rotation=3*pi/2))
lsmitll_not_v2p1.add(gdstk.Reference(ls_tr_u_m4_alt, (60,50), rotation=3*pi/2))
lsmitll_not_v2p1.add(gdstk.Reference(ls_tr_u_m4_alt, (60,60), rotation=3*pi/2))
lsmitll_not_v2p1.add(gdstk.Reference(ls_tr_u_m4_alt, (50,60), rotation=3*pi/2))
lsmitll_not_v2p1.add(gdstk.Reference(ls_tr_u_m4_alt, (40,60), rotation=3*pi/2))
lsmitll_not_v2p1.add(gdstk.Reference(ls_tr_m0, (60,40)))
lsmitll_not_v2p1.add(gdstk.Reference(ls_tr_m0, (40,40)))
lsmitll_not_v2p1.add(gdstk.Reference(ls_tr_u_m4_alt, (40,70), rotation=3*pi/2))
lsmitll_not_v2p1.add(gdstk.Reference(ls_tr_u_m4_alt, (50,70), rotation=3*pi/2))
lsmitll_not_v2p1.add(gdstk.Reference(ls_tr_u_m4_alt, (60,70), rotation=3*pi/2))
lsmitll_not_v2p1.add(gdstk.Reference(ls_jj_303_sg, (45,55)))
lsmitll_not_v2p1.add(gdstk.Reference(ls_res_4, (52.15,47.3), rotation=pi/2))
lsmitll_not_v2p1.add(gdstk.Reference(ls_tr_m0, (40,50)))
lsmitll_not_v2p1.add(gdstk.Reference(ls_tr_m0, (60,50)))
lsmitll_not_v2p1.add(gdstk.Reference(ls_fakejj_3umx3um, (65,45)))
lsmitll_not_v2p1.add(gdstk.Reference(ls_fakejj_1p5x1p5um, (60,40)))
lsmitll_not_v2p1.add(gdstk.Reference(ls_conn_m4m5m6m7, (55.65,45.65), rotation=pi/2))
lsmitll_not_v2p1.add(gdstk.Reference(ls_conn_m4m5m6m7, (63.35,37.35)))
lsmitll_not_v2p1.add(gdstk.Reference(ls_conn_m4m5m6m7, (42.65,43.35), rotation=pi/2))
lsmitll_not_v2p1.add(gdstk.Reference(ls_fakejj_1p5x1p5um, (50,40)))
lsmitll_not_v2p1.add(gdstk.Reference(ls_fakejj_1p5x1p5um, (40,50)))
lsmitll_not_v2p1.add(gdstk.Reference(ls_conn_m4m5m6m7, (39.55,43.35), rotation=pi/2))
lsmitll_not_v2p1.add(gdstk.Reference(ls_fakejj_1p5x1p5um, (60,50)))
lsmitll_not_v2p1.add(gdstk.Reference(ls_conn_m4m5m6m7, (48.4,43.4)))
lsmitll_not_v2p1.add(gdstk.Reference(ls_fakejj_1p5x1p5um, (60,60)))
lsmitll_not_v2p1.add(gdstk.Reference(ls_fakejj_3umx3um, (45,65)))
lsmitll_not_v2p1.add(gdstk.Reference(ls_fakejj_3umx3um, (55,65)))
lsmitll_not_v2p1.add(gdstk.Reference(ls_fakejj_3umx3um, (65,65)))
lsmitll_not_v2p1.add(gdstk.Reference(ls_fakejj_3umx3um, (65,55)))
lsmitll_not_v2p1.add(gdstk.Reference(ls_fakejj_3umx3um, (55,55)))
lsmitll_not_v2p1.add(gdstk.Reference(ls_conn_m4m5m6m7, (59.3,46.65), rotation=3*pi/2))
lsmitll_not_v2p1.add(gdstk.Reference(ls_conn_m4m5m6m7, (59.3,56.65), rotation=3*pi/2))
lsmitll_not_v2p1.add(gdstk.Reference(ls_conn_m4m5m6m7, (49.3,56.65), rotation=3*pi/2))
lsmitll_not_v2p1.add(gdstk.Reference(ls_conn_m4m5m6m7, (49.3,66.65), rotation=3*pi/2))
lsmitll_not_v2p1.add(gdstk.Reference(ls_conn_m4m5m6m7, (59.3,66.65), rotation=3*pi/2))
lsmitll_not_v2p1.add(gdstk.Reference(ls_conn_m4m5m6m7, (39.3,66.65), rotation=3*pi/2))
lsmitll_not_v2p1.add(gdstk.Reference(ls_conn_m4m5m6m7, (53.25,59.3)))
lsmitll_not_v2p1.add(gdstk.Reference(ls_conn_m4m5m6m7, (63.25,59.3)))
lsmitll_not_v2p1.add(gdstk.Reference(ls_conn_m4m5m6m7, (63.25,49.3)))
lsmitll_not_v2p1.add(gdstk.Reference(ls_tr_m0, (10,40)))
lsmitll_not_v2p1.add(gdstk.Reference(ls_fakejj_3umx3um, (25,65)))
lsmitll_not_v2p1.add(gdstk.Reference(ls_conn_m4m5m6m7, (28.75,43.35), rotation=pi/2))
lsmitll_not_v2p1.add(gdstk.Reference(ls_conn_m4m5m6m7, (22.65,43.35), rotation=pi/2))
lsmitll_not_v2p1.add(gdstk.Reference(ls_fakejj_1p5x1p5um, (20,40)))
lsmitll_not_v2p1.add(gdstk.Reference(ls_fakejj_1p5x1p5um, (10,40)))
lsmitll_not_v2p1.add(gdstk.Reference(ls_conn_m4m5m6m7, (23.25,57.35)))
lsmitll_not_v2p1.add(gdstk.Reference(ls_conn_m4m5m6m7, (20.7,53.35), rotation=pi/2))
lsmitll_not_v2p1.add(gdstk.Reference(ls_conn_m4m5m6m7, (6.65,41.25), rotation=pi, x_reflection=True))
lsmitll_not_v2p1.add(gdstk.Reference(ls_conn_m4m5m6m7, (16.65,47.35), rotation=pi, x_reflection=True))
lsmitll_not_v2p1.add(gdstk.Reference(ls_conn_m4m5m6m7, (19.45,43.35), rotation=pi/2))
lsmitll_not_v2p1.add(gdstk.Reference(ls_conn_m4m5m6m7, (31.85,43.35), rotation=pi/2))
lsmitll_not_v2p1.add(gdstk.Reference(ls_fakejj_1p5x1p5um, (10,50)))
lsmitll_not_v2p1.add(gdstk.Reference(ls_conn_m4m5m6m7, (1.65,43.35), rotation=pi/2))
lsmitll_not_v2p1.add(gdstk.Reference(ls_conn_m4m5m6m7, (1.65,53.35), rotation=pi/2))
lsmitll_not_v2p1.add(gdstk.Reference(ls_conn_m4m5m6m7, (10.7,53.35), rotation=pi/2))
lsmitll_not_v2p1.add(gdstk.Reference(ls_conn_m4m5m6m7, (2.65,63.35), rotation=pi/2))
lsmitll_not_v2p1.add(gdstk.Reference(ls_conn_m4m5m6m7, (3.35,67.75)))
lsmitll_not_v2p1.add(gdstk.Reference(ls_conn_m4m5m6m7, (16.65,67.35), rotation=pi, x_reflection=True))
lsmitll_not_v2p1.add(gdstk.Reference(ls_conn_m4m5m6m7, (19.35,63.35), rotation=pi/2))
lsmitll_not_v2p1.add(gdstk.Reference(ls_conn_m4m5m6m7, (16.65,50.15), rotation=pi, x_reflection=True))
lsmitll_not_v2p1.add(gdstk.Reference(ls_tr_u_m4_alt, (20,60), rotation=3*pi/2))
lsmitll_not_v2p1.add(gdstk.Reference(ls_tr_u_m4_alt, (0,70), rotation=3*pi/2))
lsmitll_not_v2p1.add(gdstk.Reference(ls_tr_u_m4_alt, (10,70), rotation=3*pi/2))
lsmitll_not_v2p1.add(gdstk.Reference(ls_tr_u_m4_alt, (20,70), rotation=3*pi/2))
lsmitll_not_v2p1.add(gdstk.Reference(ls_fakejj_1p5x1p5um, (30,60)))
lsmitll_not_v2p1.add(gdstk.Reference(ls_fakejj_1p5x1p5um, (20,60)))
lsmitll_not_v2p1.add(gdstk.Reference(ls_fakejj_1p5x1p5um, (10,60)))
lsmitll_not_v2p1.add(gdstk.Reference(ls_conn_m4m5m6m7, (6.65,37.35), rotation=pi, x_reflection=True))
lsmitll_not_v2p1.add(gdstk.Reference(ls_tr_bias_pillar_m0m6, (0,60), rotation=3*pi/2))
lsmitll_not_v2p1.add(gdstk.Reference(ls_fakejj_1p5x1p5um, (20,50)))
lsmitll_not_v2p1.add(gdstk.Reference(ls_fakejj_1p5x1p5um, (30,50)))
lsmitll_not_v2p1.add(gdstk.Reference(ls_tr_bias_pillar_m0m6, (10,60), rotation=3*pi/2))
lsmitll_not_v2p1.add(gdstk.Reference(ls_tr_u_m4_alt, (20,50), rotation=3*pi/2))
lsmitll_not_v2p1.add(gdstk.Reference(ls_tr_u_m4_alt, (0,50), rotation=3*pi/2))
lsmitll_not_v2p1.add(gdstk.Reference(ls_conn_m4m5m6m7, (29.3,66.65), rotation=3*pi/2))
lsmitll_not_v2p1.add(gdstk.Reference(ls_tr_u_m4_alt, (10,50), rotation=3*pi/2))
lsmitll_not_v2p1.add(gdstk.Reference(ls_ib_257, (13.35,65), rotation=pi/2))
lsmitll_not_v2p1.add(gdstk.Reference(ls_ib_175, (5.45,45), rotation=3*pi/2))
lsmitll_not_v2p1.add(gdstk.Reference(ls_tr_m0, (10,10)))
lsmitll_not_v2p1.add(gdstk.Reference(ls_jj_107_s, (25,25.6), rotation=pi))
lsmitll_not_v2p1.add(gdstk.Reference(ls_jj_257_sg, (15,25), x_reflection=True))
lsmitll_not_v2p1.add(gdstk.Reference(ls_fakejj_1p5x1p5um, (10,10)))
lsmitll_not_v2p1.add(gdstk.Reference(ls_fakejj_1p5x1p5um, (20,10)))
lsmitll_not_v2p1.add(gdstk.Reference(ls_tr_u_m4_alt, (0,10), rotation=3*pi/2))
lsmitll_not_v2p1.add(gdstk.Reference(ls_conn_m4m5m6m7, (23.35,14.3)))
lsmitll_not_v2p1.add(gdstk.Reference(ls_conn_m4m5m6m7, (18.45,6.65), rotation=3*pi/2))
lsmitll_not_v2p1.add(gdstk.Reference(ls_conn_m4m5m6m7, (1.25,6.65), rotation=3*pi/2))
lsmitll_not_v2p1.add(gdstk.Reference(ls_conn_m4m5m6m7, (1.25,16.65), rotation=3*pi/2))
lsmitll_not_v2p1.add(gdstk.Reference(ls_conn_m4m5m6m7, (7.35,16.65), rotation=3*pi/2))
lsmitll_not_v2p1.add(gdstk.Reference(ls_conn_m4m5m6m7, (1.25,26.65), rotation=3*pi/2))
lsmitll_not_v2p1.add(gdstk.Reference(ls_conn_m4m5m6m7, (6.65,28.05), rotation=pi, x_reflection=True))
lsmitll_not_v2p1.add(gdstk.Reference(ls_tr_u_m4_alt, (20,10), rotation=3*pi/2))
lsmitll_not_v2p1.add(gdstk.Reference(ls_fakejj_1p5x1p5um, (30,10)))
lsmitll_not_v2p1.add(gdstk.Reference(ls_fakejj_1p5x1p5um, (30,20)))
lsmitll_not_v2p1.add(gdstk.Reference(ls_tr_u_m4_alt, (20,20), rotation=3*pi/2))
lsmitll_not_v2p1.add(gdstk.Reference(ls_tr_u_m4_alt, (10,20), rotation=3*pi/2))
lsmitll_not_v2p1.add(gdstk.Reference(ls_tr_u_m4_alt, (0,20), rotation=3*pi/2))
lsmitll_not_v2p1.add(gdstk.Reference(ls_tr_u_m4_alt, (0,30), rotation=3*pi/2))
lsmitll_not_v2p1.add(gdstk.Reference(ls_tr_u_m4_alt, (10,30), rotation=3*pi/2))
lsmitll_not_v2p1.add(gdstk.Reference(ls_tr_u_m4_alt, (20,30), rotation=3*pi/2))
lsmitll_not_v2p1.add(gdstk.Reference(ls_fakejj_1p5x1p5um, (20,20)))
lsmitll_not_v2p1.add(gdstk.Reference(ls_fakejj_1p5x1p5um, (10,20)))
lsmitll_not_v2p1.add(gdstk.Reference(ls_fakejj_1p5x1p5um, (10,30)))
lsmitll_not_v2p1.add(gdstk.Reference(ls_tr_bias_pillar_m0m6, (10,0)))
lsmitll_not_v2p1.add(gdstk.Reference(ls_fakejj_1p5x1p5um, (20,30)))
lsmitll_not_v2p1.add(gdstk.Reference(ls_fakejj_1p5x1p5um, (30,30)))
lsmitll_not_v2p1.add(gdstk.Reference(ls_conn_m4m5m6m7, (6.65,31.25), rotation=pi, x_reflection=True))
lsmitll_not_v2p1.add(gdstk.Reference(ls_tr_m0, (10,20)))
lsmitll_not_v2p1.add(gdstk.Reference(ls_tr_m0, (20,20)))
lsmitll_not_v2p1.add(gdstk.Reference(ls_tr_m0, (20,0)))
lsmitll_not_v2p1.add(gdstk.Reference(ls_fakejj_3umx3um, (15,15)))
lsmitll_not_v2p1.add(gdstk.Reference(ls_conn_m4m5m6m7, (29.1,23.35), rotation=pi/2))
lsmitll_not_v2p1.add(gdstk.Reference(ls_conn_m4m5m6m7, (32.65,23.35), rotation=pi/2))
lsmitll_not_v2p1.add(gdstk.Reference(ls_conn_m4m5m6m7, (31.25,6.65), rotation=3*pi/2))
lsmitll_not_v2p1.add(gdstk.Reference(ls_ib_087, (5,5.9)))
lsmitll_not_v2p1.add(gdstk.Reference(ls_fakejj_3umx3um, (25,5)))
lsmitll_not_v2p1.add(gdstk.Reference(ls_tr_m0, (20,10)))
lsmitll_not_v2p1.add(gdstk.Reference(ls_conn_m4m5m6m7, (23.25,9.3)))
lsmitll_not_v2p1.add(gdstk.Reference(ls_conn_m4m5m6m7, (13.25,9.3)))
lsmitll_not_v2p1.add(gdstk.Reference(ls_conn_m4m5m6m7, (19.3,16.65), rotation=3*pi/2))
lsmitll_not_v2p1.add(gdstk.Reference(ls_tr_u_m4_alt, (40,10), rotation=3*pi/2))
lsmitll_not_v2p1.add(gdstk.Reference(ls_tr_u_m4_alt, (50,10), rotation=3*pi/2))
lsmitll_not_v2p1.add(gdstk.Reference(ls_tr_u_m4_alt, (60,10), rotation=3*pi/2))
lsmitll_not_v2p1.add(gdstk.Reference(ls_tr_u_m4_alt, (60,20), rotation=3*pi/2))
lsmitll_not_v2p1.add(gdstk.Reference(ls_tr_u_m4_alt, (40,20), rotation=3*pi/2))
lsmitll_not_v2p1.add(gdstk.Reference(ls_fakejj_1p5x1p5um, (60,10)))
lsmitll_not_v2p1.add(gdstk.Reference(ls_fakejj_1p5x1p5um, (60,20)))
lsmitll_not_v2p1.add(gdstk.Reference(ls_fakejj_1p5x1p5um, (50,20)))
lsmitll_not_v2p1.add(gdstk.Reference(ls_fakejj_1p5x1p5um, (40,20)))
lsmitll_not_v2p1.add(gdstk.Reference(ls_fakejj_3umx3um, (45,25)))
lsmitll_not_v2p1.add(gdstk.Reference(ls_ib_175, (39.45,15), rotation=3*pi/2))
lsmitll_not_v2p1.add(gdstk.Reference(ls_tr_m0, (40,10)))
lsmitll_not_v2p1.add(gdstk.Reference(ls_ib_175, (55,20.5)))
lsmitll_not_v2p1.add(gdstk.Reference(ls_tr_m0, (40,20)))
lsmitll_not_v2p1.add(gdstk.Reference(ls_fakejj_3umx3um, (45,5)))
lsmitll_not_v2p1.add(gdstk.Reference(ls_tr_u_m4_alt, (40,30), rotation=3*pi/2))
lsmitll_not_v2p1.add(gdstk.Reference(ls_tr_u_m4_alt, (50,30), rotation=3*pi/2))
lsmitll_not_v2p1.add(gdstk.Reference(ls_tr_bias_pillar_m0m6, (50,10)))
lsmitll_not_v2p1.add(gdstk.Reference(ls_tr_u_m4_alt, (60,30), rotation=3*pi/2))
lsmitll_not_v2p1.add(gdstk.Reference(ls_fakejj_3umx3um, (55,5)))
lsmitll_not_v2p1.add(gdstk.Reference(ls_fakejj_3umx3um, (65,5)))
lsmitll_not_v2p1.add(gdstk.Reference(ls_fakejj_1p5x1p5um, (40,30)))
lsmitll_not_v2p1.add(gdstk.Reference(ls_conn_m4m5m6m7, (63.35,31.25)))
lsmitll_not_v2p1.add(gdstk.Reference(ls_fakejj_1p5x1p5um, (50,30)))
lsmitll_not_v2p1.add(gdstk.Reference(ls_conn_m4m5m6m7, (43.35,30.45)))
lsmitll_not_v2p1.add(gdstk.Reference(ls_fakejj_1p5x1p5um, (60,30)))
lsmitll_not_v2p1.add(gdstk.Reference(ls_fakejj_3umx3um, (65,15)))
lsmitll_not_v2p1.add(gdstk.Reference(ls_fakejj_3umx3um, (65,25)))
lsmitll_not_v2p1.add(gdstk.Reference(ls_conn_m4m5m6m7, (49.3,6.65), rotation=3*pi/2))
lsmitll_not_v2p1.add(gdstk.Reference(ls_conn_m4m5m6m7, (59.3,6.65), rotation=3*pi/2))
lsmitll_not_v2p1.add(gdstk.Reference(ls_conn_m4m5m6m7, (59.3,16.65), rotation=3*pi/2))
lsmitll_not_v2p1.add(gdstk.Reference(ls_tr_m0, (60,20)))
lsmitll_not_v2p1.add(gdstk.Reference(ls_tr_m0, (60,10)))
lsmitll_not_v2p1.add(gdstk.Reference(ls_conn_m4m5m6m7, (38.75,23.35), rotation=pi/2))
lsmitll_not_v2p1.add(gdstk.Reference(ls_conn_m4m5m6m7, (37.35,6.65), rotation=3*pi/2))
lsmitll_not_v2p1.add(gdstk.Reference(ls_tr_m0, (60,0)))
lsmitll_not_v2p1.add(gdstk.Reference(ls_conn_m4m5m6m7, (43.35,17.35)))
lsmitll_not_v2p1.add(gdstk.Reference(ls_conn_m4m5m6m7, (43.35,11.25)))
lsmitll_not_v2p1.add(gdstk.Reference(ls_conn_m4m5m6m7, (58.75,23.35), rotation=pi/2))
lsmitll_not_v2p1.add(gdstk.Reference(ls_conn_m4m5m6m7, (52.65,23.35), rotation=pi/2))
lsmitll_not_v2p1.add(gdstk.Reference(ls_tr_m0, (50,0)))
lsmitll_not_v2p1.add(gdstk.Reference(ls_conn_m4m5m6m7, (63.25,19.3)))
lsmitll_not_v2p1.add(gdstk.Reference(ls_conn_m4m5m6m7, (63.25,9.3)))
lsmitll_not_v2p1.add(gdstk.Reference(ls_conn_m4m5m6m7, (53.25,9.3)))
lsmitll_not_v2p1.add(gdstk.Reference(ls_tr_m0, (40,0)))
lsmitll_not_v2p1.add(gdstk.Reference(ls_fakejj_1p5x1p5um, (40,10)))
lsmitll_not_v2p1.add(gdstk.Reference(ls_fakejj_1p5x1p5um, (50,10)))
lsmitll_not_v2p1.add(gdstk.Label('P3 M6 M4', (35,0), layer=182, texttype=0))
lsmitll_not_v2p1.add(gdstk.Label('q', (35,0), layer=182, texttype=0))
lsmitll_not_v2p1.add(gdstk.Label('PB5 M6 M4', (40,15), layer=182, texttype=0))
lsmitll_not_v2p1.add(gdstk.Label('J9 M6 M5', (35,15), layer=182, texttype=0))
lsmitll_not_v2p1.add(gdstk.Label('J8 M6 M5', (35,34.6), layer=182, texttype=0))
lsmitll_not_v2p1.add(gdstk.Label('J7 M5 M6 ', (31.15,34.75), layer=182, texttype=0))
lsmitll_not_v2p1.add(gdstk.Label('J5 M5 M6', (38.85,34.75), layer=182, texttype=0))
lsmitll_not_v2p1.add(gdstk.Label('PB4 M6 M4', (55,30), layer=182, texttype=0))
lsmitll_not_v2p1.add(gdstk.Label('J4 M6 M5', (55,35), layer=182, texttype=0))
lsmitll_not_v2p1.add(gdstk.Label('P2 M6 M4', (70,35), layer=182, texttype=0))
lsmitll_not_v2p1.add(gdstk.Label('clk', (70,35), layer=182, texttype=0))
lsmitll_not_v2p1.add(gdstk.Label('PR1 M6 M4', (48.85,47.3), layer=182, texttype=0))
lsmitll_not_v2p1.add(gdstk.Label('J6 M6 M5', (45,55), layer=182, texttype=0))
lsmitll_not_v2p1.add(gdstk.Label('PB3 M6 M4', (12.8,65), layer=182, texttype=0))
lsmitll_not_v2p1.add(gdstk.Label('J3 M6 M5', (25,25.6), layer=182, texttype=0))
lsmitll_not_v2p1.add(gdstk.Label('PB2 M6 M4', (5,24), layer=182, texttype=0))
lsmitll_not_v2p1.add(gdstk.Label('J2 M6 M5', (15,25), layer=182, texttype=0))
lsmitll_not_v2p1.add(gdstk.Label('PB1 M6 M4', (15,45), layer=182, texttype=0))
lsmitll_not_v2p1.add(gdstk.Label('J1 M6 M5', (15,35), layer=182, texttype=0))
lsmitll_not_v2p1.add(gdstk.Label('P1 M6 M4', (0,35), layer=182, texttype=0))
lsmitll_not_v2p1.add(gdstk.Label('a', (0,35), layer=182, texttype=0))
lsmitll_not_v2p1.add(gdstk.Label('a', (0.056,34.072), layer=60, texttype=1))
lsmitll_not_v2p1.add(gdstk.Label('q', (34.068,0.056), layer=60, texttype=1))
lsmitll_not_v2p1.add(gdstk.Label('clk', (69.946,34.046), layer=60, texttype=1))
lsmitll_not_v2p1.add(gdstk.Label('VDD', (3.356,65.89), layer=1, texttype=1))
lsmitll_not_v2p1.add(gdstk.Label('GND', (3.624,66.922), layer=40, texttype=1))
lsmitll_not_v2p1.add(gdstk.Label('RD', (50.279,47.279), layer=52, texttype=1))
lsmitll_not_v2p1.add(gdstk.Label('RIB1', (10.287,44.868), layer=52, texttype=1))
lsmitll_not_v2p1.add(gdstk.Label('RIB2', (5.002,15.133), layer=52, texttype=1))
lsmitll_not_v2p1.add(gdstk.Label('RIB3', (9.48,64.964), layer=52, texttype=1))
lsmitll_not_v2p1.add(gdstk.Label('RIB4', (55.033,25.668), layer=52, texttype=1))
lsmitll_not_v2p1.add(gdstk.Label('RIB5', (44.166,14.96), layer=52, texttype=1))
lsmitll_not_v2p1.add(gdstk.Label('RB1', (17.902,34.963), layer=52, texttype=1))
lsmitll_not_v2p1.add(gdstk.Label('RB2', (14.892,21.904), layer=52, texttype=1))
lsmitll_not_v2p1.add(gdstk.Label('RB3', (25.03,21.957), layer=52, texttype=1))
lsmitll_not_v2p1.add(gdstk.Label('RB4', (55.016,37.955), layer=52, texttype=1))
lsmitll_not_v2p1.add(gdstk.Label('RB5', (38.88,38.056), layer=52, texttype=1))
lsmitll_not_v2p1.add(gdstk.Label('RB6', (44.981,58.042), layer=52, texttype=1))
lsmitll_not_v2p1.add(gdstk.Label('RB7', (31.076,37.926), layer=52, texttype=1))
lsmitll_not_v2p1.add(gdstk.Label('RB8', (34.942,38.64), layer=52, texttype=1))
lsmitll_not_v2p1.add(gdstk.Label('RB9', (32.085,15.002), layer=52, texttype=1))

lib.write_gds('LSmitll_NOT_v2p1.gds')
